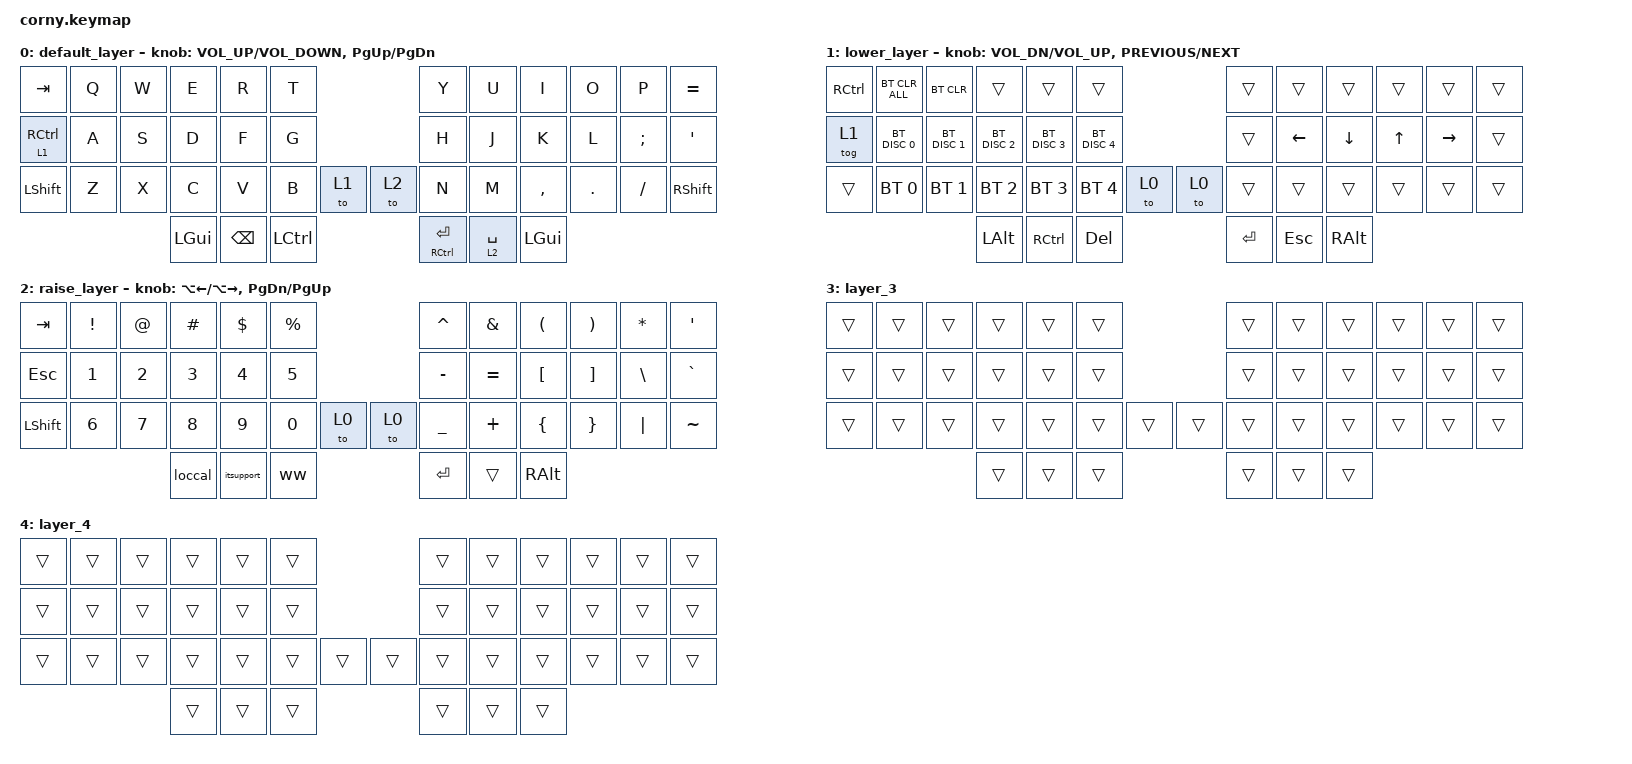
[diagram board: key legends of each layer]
#include <behaviors.dtsi>
#include <dt-bindings/zmk/bt.h>
#include <dt-bindings/zmk/keys.h>

&mt { flavor = "tap-preferred"; };

/ {
    combos { compatible = "zmk,combos"; };

    macros {
        ww: ww {
            compatible = "zmk,behavior-macro";
            #binding-cells = <0>;
            bindings = <&kp N1 &kp N8 &kp N1 &kp N0 &kp LS(S) &kp E &kp N &kp H &kp A &kp LS(J) &kp E &kp T &kp A &kp LS(J) &kp E &kp T &kp A &kp AT &kp N1 &kp N2 &kp N3 &kp N4 &kp N5 &kp ENTER>;
            label = "WW";
        };

        itsupport: itsupport {
            compatible = "zmk,behavior-macro";
            #binding-cells = <0>;
            bindings = <&none &kp LS(W) &kp LS(J) &kp LS(D) &kp N9 &kp N6 &kp LS(F) &kp LS(W) &kp E &kp LS(A) &kp Z &kp ENTER>;
            label = "ITSUPPORT";
        };

        loccal: loccal {
            compatible = "zmk,behavior-macro";
            #binding-cells = <0>;
            bindings = <&none &kp N1 &kp N8 &kp N1 &kp N0 &kp S &kp E &kp N &kp H &kp A &kp ENTER>;
            label = "LOCCAL";
        };
    };

    keymap {
        compatible = "zmk,keymap";

        default_layer {
            // -------------------------------------------------------------------------------------------------
            // |  TAB |  Q  |  W  |  E  |  R  |  T  |                    |  Y  |  U   |  I  |  O  |  P  | BKSP |
            // | CTRL |  A  |  S  |  D  |  F  |  G  |                    |  H  |  J   |  K  |  L  |  ;  |  '   |
            // | SHFT |  Z  |  X  |  C  |  V  |  B  |  MUTE  |  |        |  N  |  M   |  ,  |  .  |  /  | ESC  |
            //                    | GUI | LWR | SPC |                    | ENT | RSE  | ALT |

            bindings = <
&kp TAB              &kp Q  &kp W  &kp E         &kp R          &kp T                           &kp Y                    &kp U        &kp I         &kp O    &kp P          &kp EQUAL
&lt 1 RIGHT_CONTROL  &kp A  &kp S  &kp D         &kp F          &kp G                           &kp H                    &kp J        &kp K         &kp L    &kp SEMICOLON  &kp SINGLE_QUOTE
&kp LSHIFT           &kp Z  &kp X  &kp C         &kp V          &kp B             &to 1  &to 2  &kp N                    &kp M        &kp COMMA     &kp DOT  &kp FSLH       &kp RSHIFT
                                   &kp LEFT_GUI  &kp BACKSPACE  &kp LEFT_CONTROL                &mt RIGHT_CONTROL ENTER  &lt 2 SPACE  &kp LEFT_GUI
            >;

            sensor-bindings =
                <&inc_dec_kp C_VOLUME_UP C_VOLUME_DOWN>,
                <&inc_dec_kp PAGE_UP PAGE_DOWN>;
        };

        lower_layer {
            // ------------------------------------------------------------------------------------------------
            // |  TAB |  1  |  2  |  3  |  4  |  5  |                    |  6  |  7  |  8  |  9  |  0  | BKSP |
            // | BTCLR| BT1 | BT2 | BT3 | BT4 | BT5 |                    | LFT | DWN |  UP | RGT |     |  F12 |
            // | SHFT | F1  | F2  | F3  | F4  | F5  |  boot  |  |        |  F6 | F7  | F8  | F9  | F10 |  F11 |
            //                    | GUI |     | SPC |                    | ENT |     | ALT |

            bindings = <
&kp RCTRL  &bt BT_CLR_ALL  &bt BT_CLR     &trans         &trans         &trans                       &trans     &trans    &trans    &trans        &trans     &trans
&tog 1     &bt BT_DISC 0   &bt BT_DISC 1  &bt BT_DISC 2  &bt BT_DISC 3  &bt BT_DISC 4                &trans     &kp LEFT  &kp DOWN  &kp UP_ARROW  &kp RIGHT  &trans
&trans     &bt BT_SEL 0    &bt BT_SEL 1   &bt BT_SEL 2   &bt BT_SEL 3   &bt BT_SEL 4   &to 0  &to 0  &trans     &trans    &trans    &trans        &trans     &trans
                                          &kp LALT       &kp RCTRL      &kp DEL                      &kp ENTER  &kp ESC   &kp RALT
            >;

            sensor-bindings =
                <&inc_dec_kp C_VOL_DN C_VOL_UP>,
                <&inc_dec_kp K_PREVIOUS K_NEXT>;
        };

        raise_layer {
            // ------------------------------------------------------------------------------------------------
            // |  TAB |  !  |  @  |  #  |  $  |  %  |                    |  ^  |  &  |  *  |  (  |  )  | BKSP |
            // | CTRL |     |     |     |     |     |                    |  -  |  =  |  [  |  ]  |  \  |  `   |
            // | SHFT |     |     |     |     |     |        |  |  boot  |  _  |  +  |  {  |  }  | "|" |  ~   |
            //                    | GUI |     | SPC |                    | ENT |     | ALT |

            bindings = <
&kp TAB    &kp EXCL      &kp AT  &kp HASH  &kp DLLR      &kp PRCNT                &kp CARET       &kp AMPS   &kp LEFT_PARENTHESIS  &kp RIGHT_PARENTHESIS  &kp ASTERISK   &kp SINGLE_QUOTE
&kp ESC    &kp N1        &kp N2  &kp N3    &kp NUMBER_4  &kp N5                   &kp MINUS       &kp EQUAL  &kp LEFT_BRACKET      &kp RIGHT_BRACKET      &kp BACKSLASH  &kp GRAVE
&kp LSHFT  &kp NUMBER_6  &kp N7  &kp N8    &kp N9        &kp N0     &to 0  &to 0  &kp UNDERSCORE  &kp PLUS   &kp LEFT_BRACE        &kp RIGHT_BRACE        &kp PIPE       &kp TILDE
                                 &loccal   &itsupport    &ww                      &kp ENTER       &trans     &kp RIGHT_ALT
            >;

            sensor-bindings =
                <&inc_dec_kp LA(LEFT_ARROW) LA(RIGHT_ARROW)>,
                <&inc_dec_kp PAGE_DOWN PAGE_UP>;
        };

        layer_3 {
            bindings = <
&trans  &trans  &trans  &trans  &trans  &trans                  &trans  &trans  &trans  &trans  &trans  &trans
&trans  &trans  &trans  &trans  &trans  &trans                  &trans  &trans  &trans  &trans  &trans  &trans
&trans  &trans  &trans  &trans  &trans  &trans  &trans  &trans  &trans  &trans  &trans  &trans  &trans  &trans
                        &trans  &trans  &trans                  &trans  &trans  &trans
            >;
        };

        layer_4 {
            bindings = <
&trans  &trans  &trans  &trans  &trans  &trans                  &trans  &trans  &trans  &trans  &trans  &trans
&trans  &trans  &trans  &trans  &trans  &trans                  &trans  &trans  &trans  &trans  &trans  &trans
&trans  &trans  &trans  &trans  &trans  &trans  &trans  &trans  &trans  &trans  &trans  &trans  &trans  &trans
                        &trans  &trans  &trans                  &trans  &trans  &trans
            >;
        };
    };
};
